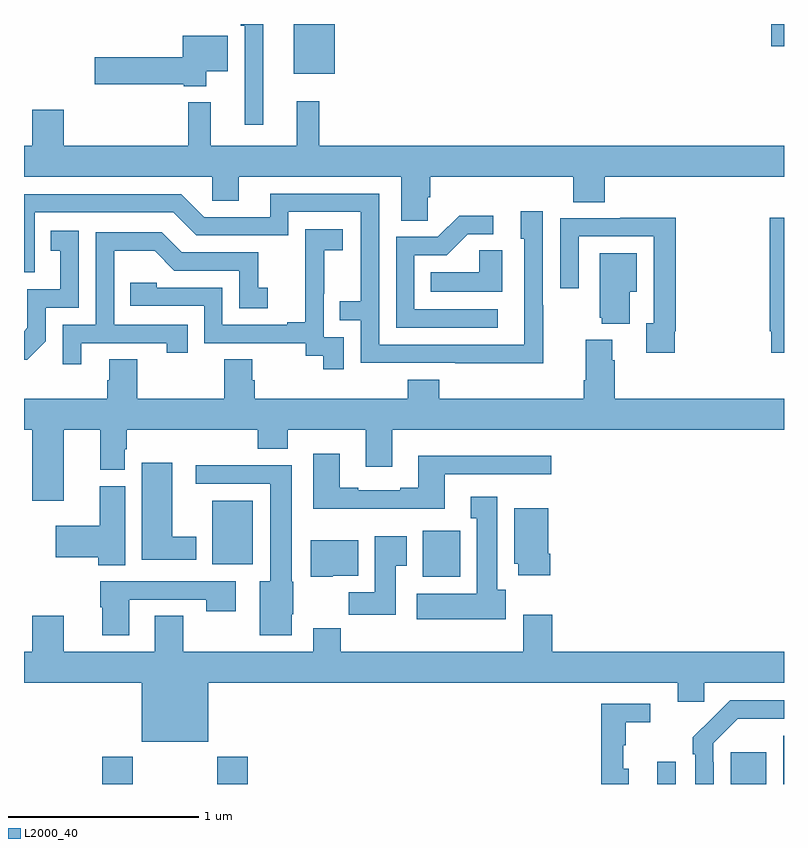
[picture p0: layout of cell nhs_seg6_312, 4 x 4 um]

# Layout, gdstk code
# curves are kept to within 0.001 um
import gdstk
lib = gdstk.Library(unit=1e-6, precision=1e-09)
def R(c, l, rs):  # rectangles x0, y0, x1, y1
    for r in rs: c.add(gdstk.rectangle(r[:2], r[2:], *l))
def P(c, l, *ps):  # polygons
    for p in ps: c.add(gdstk.Polygon(p, *l))
L2000_40 = (2000, 40)

nhs_seg6_312 = lib.new_cell('nhs_seg6_312')
R(nhs_seg6_312, L2000_40, [(129.413,917.5,129.573,917.644), (130.018,917.5,130.178,917.644), (132.333,917.5,132.429,917.617), (132.719,917.5,132.907,917.668), (132.996,917.5,133,917.754), (131.099,918.59,131.296,918.832), (129.992,918.656,130.204,918.991), (130.421,921.239,130.636,921.5), (132.932,921.383,133,921.5)])
P(nhs_seg6_312, L2000_40, [(130.258,921.5),(130.141,921.5),(130.141,921.491),(130.161,921.491),(130.161,920.97),(130.258,920.97)],
  [(129.958,921.251),(130.072,921.251),(130.072,921.439),(129.836,921.439),(129.836,921.326),(129.372,921.326),(129.372,921.184),(129.84,921.184),(129.84,921.173),(129.958,921.173)],
  [(131.124,920.587),(131.138,920.587),(131.138,920.696),(131.891,920.696),(131.891,920.563),(132.056,920.563),(132.056,920.696),(133,920.696),(133,920.86),(130.553,920.86),(130.553,921.094),(130.436,921.094),(130.436,920.86),(129.983,920.86),(129.983,921.088),(129.865,921.088),(129.865,920.86),(129.208,920.86),(129.208,921.049),(129.044,921.049),(129.044,920.86),(129,920.86),(129,920.696),(129.99,920.696),(129.99,920.569),(130.129,920.569),(130.129,920.696),(130.985,920.696),(130.985,920.464),(131.124,920.464)],
  [(131.733,920.021),(131.73,920.021),(131.73,920.515),(131.615,920.515),(131.615,920.37),(131.634,920.37),(131.634,919.812),(130.869,919.812),(130.869,920.607),(130.295,920.607),(130.295,920.484),(129.948,920.484),(129.828,920.604),(129,920.604),(129,920.193),(129.057,920.193),(129.057,920.508),(129.786,920.508),(129.906,920.388),(130.392,920.388),(130.392,920.511),(130.773,920.511),(130.773,920.042),(130.663,920.042),(130.663,919.941),(130.773,919.941),(130.773,919.716),(131.733,919.715)],
  [(131.494,919.998),(131.055,919.998),(131.055,920.283),(131.224,920.283),(131.335,920.394),(131.47,920.394),(131.47,920.492),(131.291,920.492),(131.178,920.379),(130.959,920.379),(130.959,919.902),(131.494,919.902)],
  [(132.424,919.882),(132.431,919.882),(132.431,920.48),(132.139,920.48),(132.139,920.478),(131.823,920.478),(131.823,920.109),(131.919,920.109),(131.919,920.382),(132.315,920.382),(132.315,919.926),(132.275,919.926),(132.275,919.77),(132.424,919.77)],
  [(133,920.48),(132.925,920.48),(132.925,919.882),(132.933,919.882),(132.933,919.77),(133,919.77)],
  [(130.683,919.851),(130.578,919.851),(130.578,920.081),(130.58,920.081),(130.58,920.309),(130.678,920.309),(130.678,920.419),(130.48,920.419),(130.48,920.213),(130.481,920.213),(130.481,919.93),(130.385,919.93),(130.385,919.917),(130.044,919.917),(130.044,920.112),(129.699,920.112),(129.699,920.139),(129.559,920.139),(129.559,920.016),(129.948,920.016),(129.948,919.821),(130.482,919.821),(130.482,919.753),(130.575,919.753),(130.575,919.683),(130.683,919.683)],
  [(129.114,919.83),(129.114,920.007),(129.288,920.007),(129.288,920.413),(129.142,920.413),(129.142,920.307),(129.191,920.307),(129.191,920.103),(129.018,920.103),(129.018,919.902),(129,919.884),(129,919.733),(129.016,919.733)],
  [(129.301,919.821),(129.752,919.821),(129.752,919.77),(129.863,919.77),(129.863,919.917),(129.474,919.917),(129.474,920.306),(129.688,920.306),(129.792,920.202),(130.134,920.202),(130.134,920.004),(130.282,920.004),(130.282,920.113),(130.233,920.113),(130.233,920.298),(129.829,920.298),(129.724,920.403),(129.378,920.403),(129.378,919.917),(129.204,919.917),(129.204,919.71),(129.301,919.71)],
  [(131.518,920.309),(131.397,920.309),(131.397,920.194),(131.14,920.194),(131.14,920.09),(131.518,920.09)],
  [(132.187,920.09),(132.226,920.09),(132.226,920.293),(132.029,920.293),(132.029,919.953),(132.041,919.953),(132.041,919.922),(132.187,919.922)],
  [(133,919.528),(132.11,919.528),(132.11,919.73),(132.097,919.73),(132.097,919.837),(131.957,919.837),(131.957,919.624),(131.945,919.624),(131.945,919.528),(131.186,919.528),(131.186,919.627),(131.021,919.627),(131.021,919.528),(130.214,919.528),(130.214,919.626),(130.201,919.626),(130.201,919.736),(130.054,919.736),(130.054,919.528),(129.597,919.528),(129.597,919.736),(129.449,919.736),(129.449,919.626),(129.437,919.626),(129.437,919.528),(129,919.528),(129,919.364),(129.044,919.364),(129.044,918.99),(129.208,918.99),(129.208,919.364),(129.401,919.364),(129.401,919.153),(129.529,919.153),(129.529,919.263),(129.542,919.263),(129.542,919.364),(130.229,919.364),(130.229,919.265),(130.389,919.265),(130.389,919.364),(130.799,919.364),(130.799,919.17),(130.939,919.17),(130.939,919.364),(133,919.364)],
  [(131.215,919.131),(131.776,919.131),(131.776,919.228),(131.075,919.228),(131.075,919.06),(130.979,919.06),(130.979,919.047),(130.759,919.047),(130.759,919.06),(130.663,919.06),(130.663,919.237),(130.523,919.237),(130.523,918.95),(131.215,918.95)],
  [(129.907,918.802),(129.781,918.802),(129.781,919.192),(129.62,919.192),(129.62,918.68),(129.907,918.68)],
  [(130.408,918.394),(130.416,918.394),(130.416,918.564),(130.408,918.564),(130.408,919.178),(129.903,919.178),(129.903,919.08),(130.295,919.08),(130.295,918.568),(130.241,918.568),(130.241,918.282),(130.408,918.282)],
  [(129.532,919.068),(129.398,919.068),(129.398,918.859),(129.168,918.859),(129.168,918.694),(129.391,918.694),(129.391,918.652),(129.532,918.652)],
  [(131.536,918.522),(131.491,918.522),(131.491,919.012),(131.351,919.012),(131.351,918.899),(131.384,918.899),(131.384,918.502),(131.067,918.502),(131.067,918.368),(131.536,918.368)],
  [(131.771,918.712),(131.758,918.712),(131.758,918.952),(131.579,918.952),(131.579,918.66),(131.6,918.66),(131.6,918.6),(131.771,918.6)],
  [(130.957,918.649),(131.014,918.649),(131.014,918.805),(130.847,918.805),(130.847,918.508),(130.708,918.508),(130.708,918.39),(130.957,918.39)],
  [(130.626,918.596),(130.759,918.596),(130.759,918.784),(130.508,918.784),(130.508,918.59),(130.626,918.59)],
  [(129.553,918.471),(129.958,918.471),(129.958,918.408),(130.114,918.408),(130.114,918.567),(129.401,918.567),(129.401,918.429),(129.413,918.429),(129.413,918.282),(129.553,918.282)],
  [(129.97,918.032),(132.44,918.032),(132.44,917.934),(132.579,917.934),(132.579,918.032),(133,918.032),(133,918.196),(131.78,918.196),(131.78,918.391),(131.627,918.391),(131.627,918.196),(130.667,918.196),(130.667,918.32),(130.523,918.32),(130.523,918.196),(129.837,918.196),(129.837,918.386),(129.689,918.386),(129.689,918.196),(129.208,918.196),(129.208,918.385),(129.044,918.385),(129.044,918.196),(129,918.196),(129,918.032),(129.62,918.032),(129.62,917.723),(129.97,917.723)],
  [(132.63,917.615),(132.627,917.615),(132.627,917.715),(132.756,917.844),(133,917.844),(133,917.94),(132.716,917.94),(132.519,917.745),(132.519,917.657),(132.534,917.657),(132.534,917.5),(132.63,917.5)],
  [(132.184,917.581),(132.155,917.581),(132.155,917.703),(132.166,917.703),(132.166,917.824),(132.295,917.824),(132.295,917.922),(132.037,917.922),(132.037,917.5),(132.184,917.5)])

lib.write_gds('nhs_seg6_312.gds')
